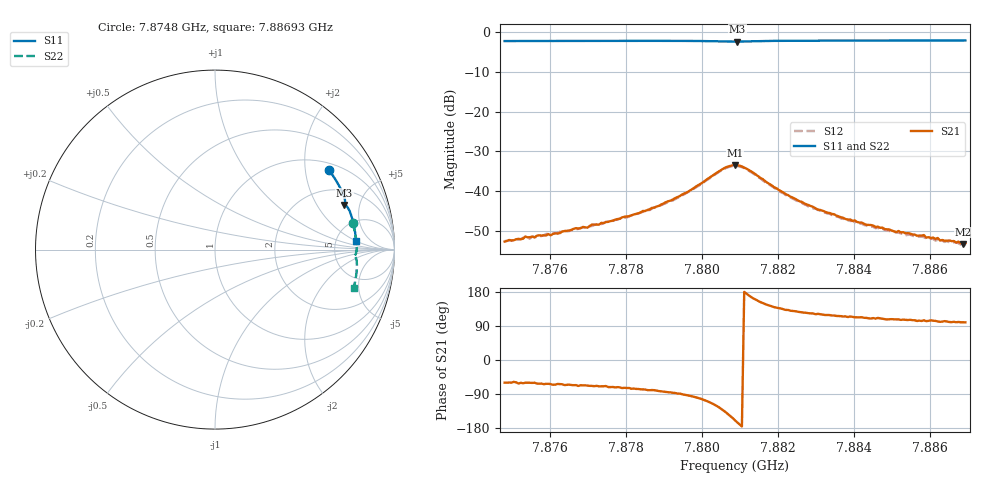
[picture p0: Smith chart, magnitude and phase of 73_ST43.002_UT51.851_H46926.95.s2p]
#  HZ  S  DB  R  50.00
! Rohde & Schwarz Vector Network Analyzer
! Rohde-Schwarz,ZNB20-2Port,1311601062101988,3.16
! Created: UTC 1/12/2023, 6:34:36 PM
! freq[Hz]  db:S11  ang:S11  db:S21  ang:S21  db:S12  ang:S12  db:S22  ang:S22
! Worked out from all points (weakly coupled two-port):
!   201 points, 7.8748 GHz to 7.88693 GHz, reference 50 ohm
!   highest |S21| = -33.45 dB at 7.88087 GHz (marker M1); lowest = -53.3 dB at 7.88687 GHz (marker M2)
!   lowest |S11| = -2.4 dB at 7.88093 GHz (marker M3), VSWR 7.42, Z = 150 + j178 ohm
!   |S11| at or under -10 dB: nowhere
!   |S22| runs from -2.2 to -1.9 dB; largest |S21 - S12| = 0.0014
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7.874803e9  -2.23 35.1  -52.71 -59.8  -52.57 -60.2  -2.15 11.0
7.875289e9  -2.22 33.8  -51.98 -61.4  -51.75 -64.3  -2.13 9.9
7.875349e9  -2.22 33.6  -51.41 -59.9  -51.83 -64.7  -2.13 9.8
7.876016e9  -2.21 31.8  -51.11 -63.7  -50.76 -66.8  -2.11 8.1
7.876866e9  -2.19 29.4  -49.01 -67.0  -49.20 -69.9  -2.09 6.2
7.876987e9  -2.19 29.1  -49.19 -67.6  -49.12 -71.6  -2.09 5.9
7.877108e9  -2.19 28.8  -48.40 -68.4  -48.78 -72.9  -2.09 5.6
7.87729e9  -2.19 28.3  -48.43 -69.5  -48.30 -72.9  -2.08 5.2
7.878018e9  -2.18 26.3  -46.38 -74.0  -46.64 -77.3  -2.06 3.5
7.878867e9  -2.18 23.9  -43.71 -82.0  -43.70 -84.5  -2.05 1.5
7.879413e9  -2.18 22.4  -41.27 -88.7  -41.51 -92.3  -2.05 0.1
7.880626e9  -2.33 19.2  -34.01 -137.9  -34.20 -141.3  -2.21 -2.6
7.880869e9  -2.35 19.1  -33.45 -159.2  -33.65 -162.6  -2.23 -2.6
7.880929e9  -2.35 19.0  -33.51 -164.8  -33.71 -168.1  -2.23 -2.6
7.881172e9  -2.31 18.9  -34.36 175.0  -34.50 171.5  -2.19 -2.7
7.882203e9  -2.16 16.2  -40.75 132.2  -40.99 129.4  -2.02 -4.8
7.882931e9  -2.13 14.1  -44.00 122.6  -44.34 118.9  -1.98 -6.6
7.88378e9  -2.11 11.8  -47.03 115.0  -47.01 111.6  -1.96 -8.5
7.88469e9  -2.10 9.4  -49.24 109.9  -49.81 105.4  -1.94 -10.6
7.884932e9  -2.10 8.8  -49.67 107.5  -50.04 105.2  -1.94 -11.1
7.886873e9  -2.08 3.7  -53.31 99.4  -53.32 96.7  -1.92 -15.3
7.886934e9  -2.08 3.5  -53.14 99.4  -53.86 96.9  -1.92 -15.4
